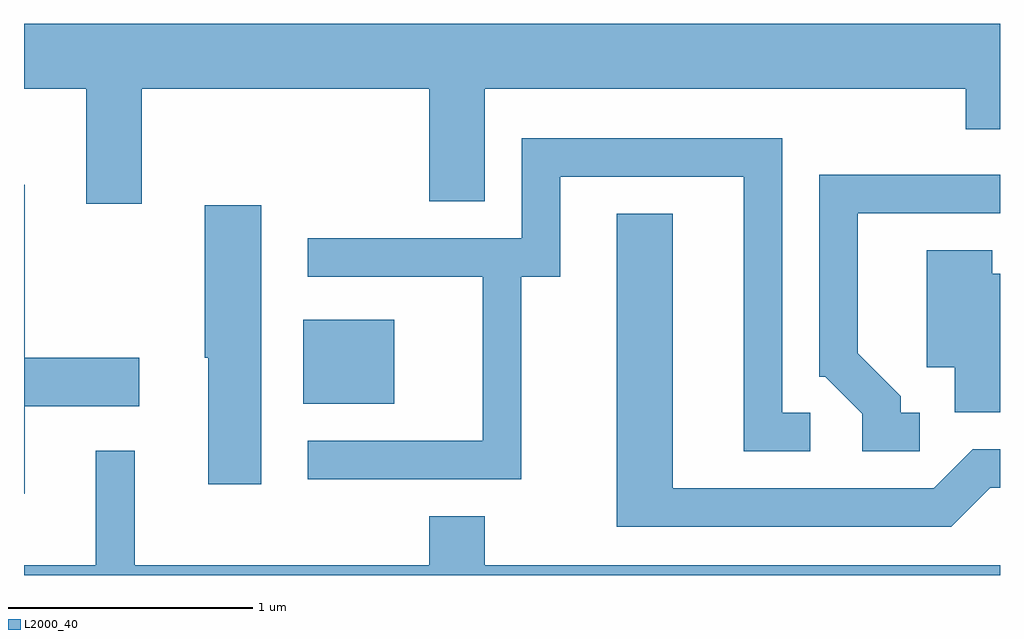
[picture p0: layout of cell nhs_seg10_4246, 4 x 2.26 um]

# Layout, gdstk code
import gdstk
lib = gdstk.Library(unit=1e-6, precision=1e-09)
def R(c, l, rs):  # rectangles x0, y0, x1, y1
    for r in rs: c.add(gdstk.rectangle(r[:2], r[2:], *l))
def P(c, l, *ps):  # polygons
    for p in ps: c.add(gdstk.Polygon(p, *l))
L2000_40 = (2000, 40)

nhs_seg10_4246 = lib.new_cell('nhs_seg10_4246')
R(nhs_seg10_4246, L2000_40, [(310.756,2179.226,311.129,2179.569)])
P(nhs_seg10_4246, L2000_40, [(310.094,2180.516),(311.271,2180.516),(311.271,2180.056),(311.499,2180.056),(311.499,2180.516),(313.471,2180.516),(313.471,2180.351),(313.611,2180.351),(313.611,2180.784),(309.611,2180.784),(309.611,2180.516),(309.866,2180.516),(309.866,2180.046),(310.094,2180.046)],
  [(311.649,2179.746),(311.809,2179.746),(311.809,2180.156),(312.561,2180.156),(312.561,2179.031),(312.833,2179.031),(312.833,2179.189),(312.719,2179.189),(312.719,2180.314),(311.651,2180.314),(311.651,2179.904),(310.773,2179.904),(310.773,2179.746),(311.491,2179.746),(311.491,2179.074),(310.773,2179.074),(310.773,2178.916),(311.649,2178.916)],
  [(313.283,2179.189),(313.204,2179.189),(313.204,2179.257),(313.029,2179.432),(313.029,2180.006),(313.611,2180.006),(313.611,2180.164),(312.871,2180.164),(312.871,2179.336),(312.894,2179.336),(313.046,2179.184),(313.046,2179.031),(313.283,2179.031)],
  [(309.614,2179.216),(310.084,2179.216),(310.084,2179.414),(309.614,2179.414),(309.614,2180.123),(309.611,2180.123),(309.611,2178.856),(309.614,2178.856)],
  [(310.584,2180.039),(310.351,2180.039),(310.351,2179.415),(310.366,2179.415),(310.366,2178.896),(310.584,2178.896)],
  [(313.572,2178.881),(313.611,2178.881),(313.611,2179.039),(313.499,2179.039),(313.339,2178.879),(312.269,2178.879),(312.269,2180.004),(312.041,2180.004),(312.041,2178.721),(313.412,2178.721)],
  [(313.611,2179.759),(313.579,2179.759),(313.579,2179.854),(313.311,2179.854),(313.311,2179.376),(313.426,2179.376),(313.426,2179.191),(313.611,2179.191)],
  [(313.611,2178.564),(311.499,2178.564),(311.499,2178.764),(311.271,2178.764),(311.271,2178.564),(310.064,2178.564),(310.064,2179.033),(309.906,2179.033),(309.906,2178.564),(309.611,2178.564),(309.611,2178.522),(313.611,2178.522)])

lib.write_gds('nhs_seg10_4246.gds')
